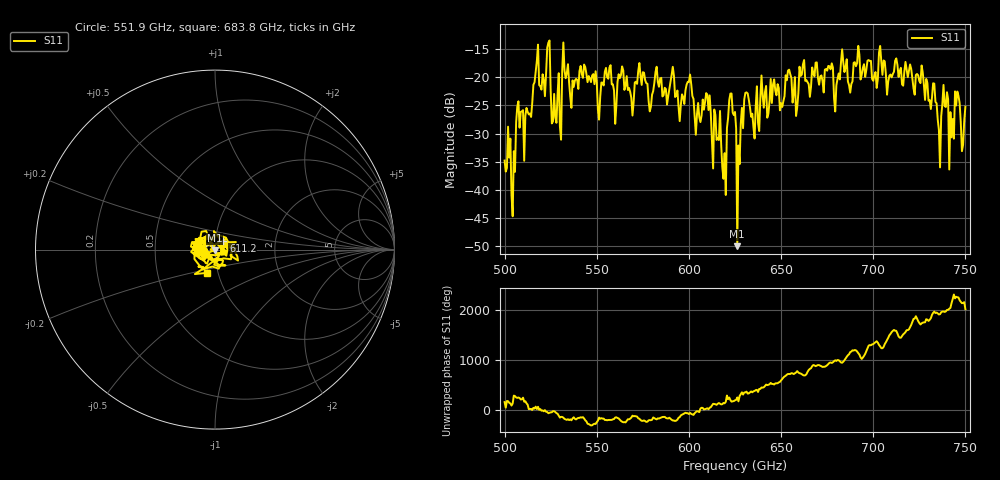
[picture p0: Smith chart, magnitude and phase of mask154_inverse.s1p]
!Created with skrf (http://scikit-rf.org).
# GHz S MA R 50.0
!freq magS11 angS11
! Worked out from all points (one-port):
!   401 points, 500 GHz to 750 GHz, reference 50 ohm
!   lowest |S11| = -50.0 dB at 626.2 GHz (marker M1), VSWR 1.01, Z = 49.9 - j0.303 ohm
!   |S11| at or under -10 dB: start of sweep to end of sweep
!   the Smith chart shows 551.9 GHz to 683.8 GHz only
!   S11 on the Smith chart (normalised r, x): 551.9 GHz: 0.88, -0.01; 611.2 GHz: 1.09, +0.11; 683.8 GHz: 0.89, -0.23
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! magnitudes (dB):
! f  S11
! 500 GHz  -34.8
! 505 GHz  -33.1
! 507.5 GHz  -24.3
! 511.9 GHz  -25.5
! 516.9 GHz  -18.9
! 523.8 GHz  -13.9
! 526.9 GHz  -23.0
! 531.2 GHz  -18.9
! 533.1 GHz  -20.2
! 551.9 GHz  -23.5
! 562.5 GHz  -20.2
! 593.8 GHz  -22.4
! 611.2 GHz  -23.2
! 618.8 GHz  -38.0
! 622.5 GHz  -22.9
! 625 GHz  -26.2
! 626.2 GHz  -50.0
! 631.2 GHz  -22.7
! 635 GHz  -28.8
! 656.2 GHz  -24.5
! 683.8 GHz  -17.3
! 687.5 GHz  -22.7
! 718.8 GHz  -20.0
! 735.6 GHz  -29.4
! 739.4 GHz  -25.3
! 742.5 GHz  -30.7
! 745.6 GHz  -22.5
! 750 GHz  -25.2
